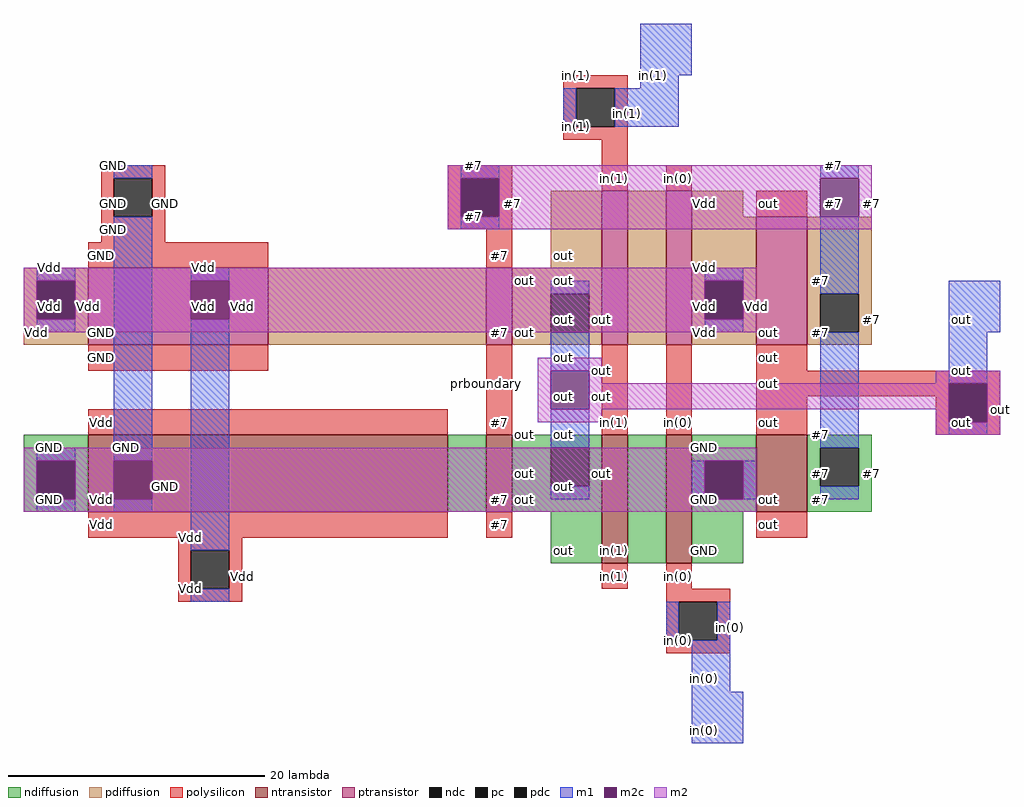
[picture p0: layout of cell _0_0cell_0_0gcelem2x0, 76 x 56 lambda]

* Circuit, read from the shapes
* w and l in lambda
.subckt _0_0cell_0_0gcelem2x0 out in(1) in(0)
M1 n1 Vdd GND VSUBS nfet w=6 l=28
M2 out #7 n1 VSUBS nfet w=6 l=2
M3 n2 in(1) out VSUBS nfet w=10 l=2
M4 GND in(0) n2 VSUBS nfet w=10 l=2
M5 #7 out GND VSUBS nfet w=6 l=4
M6 n3 GND Vdd NWELL pfet w=6 l=14
M7 out #7 n3 NWELL pfet w=6 l=2
M8 n4 in(1) out NWELL pfet w=12 l=2
M9 Vdd in(0) n4 NWELL pfet w=12 l=2
M10 #7 out Vdd NWELL pfet w=10 l=4
.ends

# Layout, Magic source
magic
tech sky130l
<< ndiffusion >>
rect 8 26 13 28
rect 8 23 9 26
rect 12 23 13 26
rect 8 22 13 23
rect 41 22 44 28
rect 46 27 53 28
rect 46 24 49 27
rect 52 24 53 27
rect 46 22 53 24
rect 49 18 53 22
rect 55 18 58 28
rect 60 26 65 28
rect 60 23 61 26
rect 64 23 65 26
rect 60 22 65 23
rect 69 27 74 28
rect 69 24 70 27
rect 73 24 74 27
rect 69 22 74 24
rect 60 18 64 22
<< ndc >>
rect 9 23 12 26
rect 49 24 52 27
rect 61 23 64 26
rect 70 24 73 27
<< ntransistor >>
rect 13 22 41 28
rect 44 22 46 28
rect 53 18 55 28
rect 58 18 60 28
rect 65 22 69 28
<< pdiffusion >>
rect 49 41 53 47
rect 8 40 13 41
rect 8 37 9 40
rect 12 37 13 40
rect 8 35 13 37
rect 27 35 44 41
rect 46 39 53 41
rect 46 36 49 39
rect 52 36 53 39
rect 46 35 53 36
rect 55 35 58 47
rect 60 45 64 47
rect 60 40 65 45
rect 60 37 61 40
rect 64 37 65 40
rect 60 35 65 37
rect 69 39 74 45
rect 69 36 70 39
rect 73 36 74 39
rect 69 35 74 36
<< pdc >>
rect 9 37 12 40
rect 49 36 52 39
rect 61 37 64 40
rect 70 36 73 39
<< ptransistor >>
rect 13 35 27 41
rect 44 35 46 41
rect 53 35 55 47
rect 58 35 60 47
rect 65 35 69 45
<< polysilicon >>
rect 50 55 55 56
rect 50 52 51 55
rect 54 52 55 55
rect 50 51 55 52
rect 14 48 19 49
rect 14 45 15 48
rect 18 45 19 48
rect 14 43 19 45
rect 41 48 46 49
rect 41 45 42 48
rect 45 45 46 48
rect 53 47 55 51
rect 58 47 60 49
rect 41 44 46 45
rect 13 41 27 43
rect 44 41 46 44
rect 65 45 69 47
rect 13 33 27 35
rect 13 28 41 30
rect 44 28 46 35
rect 53 28 55 35
rect 58 28 60 35
rect 65 33 69 35
rect 65 32 84 33
rect 65 31 80 32
rect 65 28 69 31
rect 79 29 80 31
rect 83 29 84 32
rect 79 28 84 29
rect 13 20 41 22
rect 44 20 46 22
rect 20 19 25 20
rect 20 16 21 19
rect 24 16 25 19
rect 65 20 69 22
rect 53 16 55 18
rect 58 16 60 18
rect 20 15 25 16
rect 58 15 63 16
rect 58 12 59 15
rect 62 12 63 15
rect 58 11 63 12
<< pc >>
rect 51 52 54 55
rect 15 45 18 48
rect 42 45 45 48
rect 80 29 83 32
rect 21 16 24 19
rect 59 12 62 15
<< m1 >>
rect 56 56 60 60
rect 56 55 59 56
rect 50 52 51 55
rect 54 52 59 55
rect 15 48 18 49
rect 9 40 12 41
rect 9 36 12 37
rect 9 26 12 27
rect 9 22 12 23
rect 15 26 18 45
rect 42 48 45 49
rect 42 44 45 45
rect 70 48 73 49
rect 15 22 18 23
rect 21 40 24 41
rect 61 40 64 41
rect 21 19 24 37
rect 49 39 52 40
rect 61 36 64 37
rect 70 39 73 45
rect 49 33 52 36
rect 49 27 52 30
rect 70 27 73 36
rect 80 36 84 40
rect 80 32 83 36
rect 80 28 83 29
rect 49 23 52 24
rect 60 23 61 26
rect 64 23 65 26
rect 70 23 73 24
rect 21 15 24 16
rect 58 12 59 15
rect 62 12 63 15
rect 60 8 63 12
rect 60 4 64 8
<< m2c >>
rect 9 37 12 40
rect 9 23 12 26
rect 42 45 45 48
rect 70 45 73 48
rect 15 23 18 26
rect 21 37 24 40
rect 61 37 64 40
rect 49 30 52 33
rect 80 29 83 32
rect 61 23 64 26
<< m2 >>
rect 41 48 74 49
rect 41 45 42 48
rect 45 45 70 48
rect 73 45 74 48
rect 41 44 74 45
rect 8 40 65 41
rect 8 37 9 40
rect 12 37 21 40
rect 24 37 61 40
rect 64 37 65 40
rect 8 36 65 37
rect 48 33 53 34
rect 48 30 49 33
rect 52 32 53 33
rect 79 32 84 33
rect 52 30 80 32
rect 48 29 53 30
rect 79 29 80 30
rect 83 29 84 32
rect 79 28 84 29
rect 8 26 65 27
rect 8 23 9 26
rect 12 23 15 26
rect 18 23 61 26
rect 64 23 65 26
rect 8 22 65 23
<< labels >>
rlabel space 0 0 88 64 6 prboundary
rlabel ndiffusion 74 25 74 25 3 #7
rlabel polysilicon 66 21 66 21 3 out
rlabel ndiffusion 70 23 70 23 3 #7
rlabel ndiffusion 70 25 70 25 3 #7
rlabel ndiffusion 70 28 70 28 3 #7
rlabel pdiffusion 74 37 74 37 3 #7
rlabel ntransistor 66 23 66 23 3 out
rlabel polysilicon 66 29 66 29 3 out
rlabel polysilicon 66 32 66 32 3 out
rlabel polysilicon 66 33 66 33 3 out
rlabel polysilicon 66 34 66 34 3 out
rlabel ndiffusion 61 19 61 19 3 GND
rlabel ndiffusion 61 23 61 23 3 GND
rlabel ndiffusion 61 27 61 27 3 GND
rlabel pdiffusion 70 36 70 36 3 #7
rlabel pdiffusion 70 37 70 37 3 #7
rlabel pdiffusion 70 40 70 40 3 #7
rlabel polysilicon 66 46 66 46 3 out
rlabel polysilicon 59 48 59 48 3 in(0)
rlabel ntransistor 59 19 59 19 3 in(0)
rlabel polysilicon 59 29 59 29 3 in(0)
rlabel ptransistor 66 36 66 36 3 out
rlabel pdiffusion 61 36 61 36 3 Vdd
rlabel pdiffusion 61 38 61 38 3 Vdd
rlabel pdiffusion 61 41 61 41 3 Vdd
rlabel pdiffusion 61 46 61 46 3 Vdd
rlabel polysilicon 54 48 54 48 3 in(1)
rlabel ntransistor 54 19 54 19 3 in(1)
rlabel polysilicon 54 29 54 29 3 in(1)
rlabel ptransistor 59 36 59 36 3 in(0)
rlabel polysilicon 51 52 51 52 3 in(1)
rlabel polysilicon 51 56 51 56 3 in(1)
rlabel polysilicon 59 17 59 17 3 in(0)
rlabel ndiffusion 50 19 50 19 3 out
rlabel ndiffusion 53 25 53 25 3 out
rlabel pdiffusion 53 37 53 37 3 out
rlabel pdiffusion 50 42 50 42 3 out
rlabel polysilicon 59 12 59 12 3 in(0)
rlabel polysilicon 59 16 59 16 3 in(0)
rlabel ptransistor 54 36 54 36 3 in(1)
rlabel polysilicon 54 17 54 17 3 in(1)
rlabel polysilicon 25 17 25 17 3 Vdd
rlabel ndiffusion 47 23 47 23 3 out
rlabel ndiffusion 47 25 47 25 3 out
rlabel ndiffusion 47 28 47 28 3 out
rlabel pdiffusion 47 36 47 36 3 out
rlabel pdiffusion 47 37 47 37 3 out
rlabel pdiffusion 47 40 47 40 3 out
rlabel polysilicon 45 42 45 42 3 #7
rlabel polysilicon 19 46 19 46 3 GND
rlabel polysilicon 45 21 45 21 3 #7
rlabel ntransistor 45 23 45 23 3 #7
rlabel polysilicon 45 29 45 29 3 #7
rlabel ptransistor 45 36 45 36 3 #7
rlabel polysilicon 21 16 21 16 3 Vdd
rlabel polysilicon 21 17 21 17 3 Vdd
rlabel polysilicon 21 20 21 20 3 Vdd
rlabel polysilicon 15 44 15 44 3 GND
rlabel polysilicon 15 46 15 46 3 GND
rlabel polysilicon 15 49 15 49 3 GND
rlabel polysilicon 14 21 14 21 3 Vdd
rlabel ntransistor 14 23 14 23 3 Vdd
rlabel polysilicon 14 29 14 29 3 Vdd
rlabel polysilicon 14 34 14 34 3 GND
rlabel ptransistor 14 36 14 36 3 GND
rlabel polysilicon 14 42 14 42 3 GND
rlabel pdiffusion 9 36 9 36 3 Vdd
rlabel m1 81 29 81 29 3 out
port 1 e
rlabel m1 81 33 81 33 3 out
port 1 e
rlabel m1 81 37 81 37 3 out
port 1 e
rlabel m1 71 24 71 24 3 #7
rlabel ndc 71 25 71 25 3 #7
rlabel m1 71 28 71 28 3 #7
rlabel pdc 71 37 71 37 3 #7
rlabel m1 71 40 71 40 3 #7
rlabel m1 71 49 71 49 3 #7
rlabel m1 57 56 57 56 3 in(1)
port 2 e
rlabel m1 57 57 57 57 3 in(1)
port 2 e
rlabel m1 55 53 55 53 3 in(1)
port 2 e
rlabel m1 62 37 62 37 3 Vdd
rlabel m1 62 41 62 41 3 Vdd
rlabel pc 52 53 52 53 3 in(1)
port 2 e
rlabel m1 43 45 43 45 3 #7
rlabel m1 61 24 61 24 3 GND
rlabel m1 51 53 51 53 3 in(1)
port 2 e
rlabel m1 61 5 61 5 3 in(0)
port 3 e
rlabel m1 61 9 61 9 3 in(0)
port 3 e
rlabel m1 63 13 63 13 3 in(0)
port 3 e
rlabel m1 50 28 50 28 3 out
port 1 e
rlabel m1 50 34 50 34 3 out
port 1 e
rlabel pdc 50 37 50 37 3 out
port 1 e
rlabel m1 50 40 50 40 3 out
port 1 e
rlabel m1 22 41 22 41 3 Vdd
rlabel m1 43 49 43 49 3 #7
rlabel pc 60 13 60 13 3 in(0)
port 3 e
rlabel m1 50 24 50 24 3 out
port 1 e
rlabel ndc 50 25 50 25 3 out
port 1 e
rlabel m1 59 13 59 13 3 in(0)
port 3 e
rlabel m1 16 23 16 23 3 GND
rlabel m1 16 27 16 27 3 GND
rlabel pc 16 46 16 46 3 GND
rlabel m1 16 49 16 49 3 GND
rlabel m1 22 16 22 16 3 Vdd
rlabel pc 22 17 22 17 3 Vdd
rlabel m1 22 20 22 20 3 Vdd
rlabel m1 10 23 10 23 3 GND
rlabel m1 10 27 10 27 3 GND
rlabel m1 10 37 10 37 3 Vdd
rlabel m1 10 41 10 41 3 Vdd
rlabel m2 80 33 80 33 3 out
port 1 e
rlabel m2 74 46 74 46 3 #7
rlabel m2c 71 46 71 46 3 #7
rlabel m2 53 31 53 31 3 out
port 1 e
rlabel m2 53 33 53 33 3 out
port 1 e
rlabel m2 46 46 46 46 3 #7
rlabel m2 65 24 65 24 3 GND
rlabel m2c 50 31 50 31 3 out
port 1 e
rlabel m2 65 38 65 38 3 Vdd
rlabel m2c 43 46 43 46 3 #7
rlabel m2c 62 24 62 24 3 GND
rlabel m2 49 30 49 30 3 out
port 1 e
rlabel m2 49 31 49 31 3 out
port 1 e
rlabel m2 49 34 49 34 3 out
port 1 e
rlabel m2c 62 38 62 38 3 Vdd
rlabel m2 42 45 42 45 3 #7
rlabel m2 42 46 42 46 3 #7
rlabel m2 42 49 42 49 3 #7
rlabel m2 19 24 19 24 3 GND
rlabel m2 84 30 84 30 3 out
port 1 e
rlabel m2 25 38 25 38 3 Vdd
rlabel m2c 16 24 16 24 3 GND
rlabel m2c 81 30 81 30 3 out
port 1 e
rlabel m2c 22 38 22 38 3 Vdd
rlabel m2 13 24 13 24 3 GND
rlabel m2 80 29 80 29 3 out
port 1 e
rlabel m2 80 30 80 30 3 out
port 1 e
rlabel m2 13 38 13 38 3 Vdd
rlabel m2c 10 24 10 24 3 GND
rlabel m2c 10 38 10 38 3 Vdd
rlabel m2 9 23 9 23 3 GND
rlabel m2 9 24 9 24 3 GND
rlabel m2 9 27 9 27 3 GND
rlabel m2 9 37 9 37 3 Vdd
rlabel m2 9 38 9 38 3 Vdd
rlabel m2 9 41 9 41 3 Vdd
<< end >>
